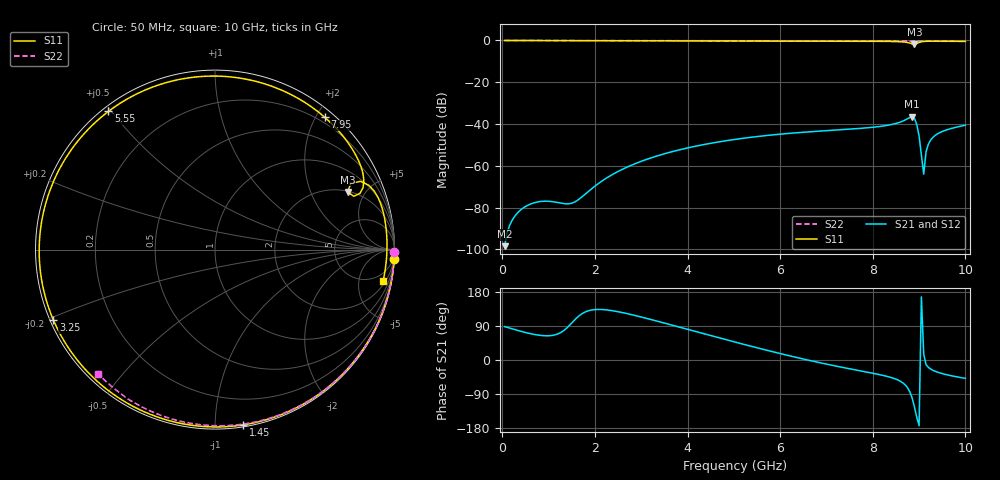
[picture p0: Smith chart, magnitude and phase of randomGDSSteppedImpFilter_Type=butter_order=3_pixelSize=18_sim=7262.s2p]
! freq	dB(S11)	phase(S11)	dB(S12)	phase(S12)
!  dB(S21)	phase(S21)	dB(S22)	phase(S22)
!S-par simulation data
#  GHz  S  DB  R 50
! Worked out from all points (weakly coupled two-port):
!   200 points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, 50 MHz to 10 GHz, reference 50 ohm
!   highest |S21| = -36.54 dB at 8.85 GHz (marker M1); lowest = -98.4 dB at 50 MHz (marker M2)
!   lowest |S11| = -1.9 dB at 8.9 GHz (marker M3), VSWR 9.32, Z = 102 + j188 ohm
!   |S11| at or under -10 dB: nowhere
!   |S22| runs from -0.4 to 0.0 dB; largest |S21 - S12| = 0
!   S11 on the Smith chart (normalised r, x): 50 MHz: 0, -38; 1.45 GHz: 0.01, -1.17; 3.25 GHz: 0.01, -0.21; 5.55 GHz: 0.02, +0.49; 7.95 GHz: 0.12, +2.12; 10 GHz: 3, -10
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0.05  -0.00 -3.0  -98.42 88.2  -98.42 88.2  -0.00 -0.8
0.45  -0.04 -26.6  -80.18 74.1  -80.18 74.1  -0.01 -6.9
0.8  -0.06 -46.5  -77.13 65.3  -77.13 65.3  -0.02 -12.1
1.45  -0.09 -80.8  -78.11 91.2  -78.11 91.2  -0.03 -21.9
1.75  -0.11 -95.3  -74.29 124.2  -74.29 124.2  -0.03 -26.4
2.4  -0.13 -123.8  -63.87 129.7  -63.87 129.7  -0.05 -35.9
3.25  -0.16 -156.4  -55.90 105.6  -55.90 105.6  -0.06 -48.1
3.4  -0.16 -161.7  -54.86 100.7  -54.86 100.7  -0.07 -50.2
4.2  -0.19 171.0  -50.47 74.3  -50.47 74.3  -0.09 -61.3
5.05  -0.22 143.6  -47.26 46.5  -47.26 46.5  -0.11 -72.7
5.55  -0.24 127.6  -45.86 30.7  -45.86 30.7  -0.13 -79.2
6.7  -0.29 90.9  -43.60 -2.9  -43.60 -2.9  -0.18 -93.7
7.95  -0.37 50.3  -41.65 -33.7  -41.65 -33.7  -0.26 -108.9
8.35  -0.46 37.0  -40.46 -44.6  -40.46 -44.6  -0.29 -113.6
8.85  -1.64 21.0  -36.54 -100.2  -36.54 -100.2  -0.32 -119.6
8.9  -1.87 23.5  -37.27 -124.0  -37.27 -124.0  -0.32 -120.2
9  -0.96 25.1  -45.69 -173.3  -45.69 -173.3  -0.34 -121.4
9.1  -0.49 20.2  -63.99 15.6  -63.99 15.6  -0.35 -122.6
9.15  -0.41 17.8  -53.29 -12.1  -53.29 -12.1  -0.36 -123.1
9.2  -0.38 15.7  -49.66 -19.2  -49.66 -19.2  -0.37 -123.7
9.3  -0.35 11.8  -46.32 -27.3  -46.32 -27.3  -0.38 -124.9
10  -0.42 -10.6  -40.53 -48.5  -40.53 -48.5  -0.45 -133.3
